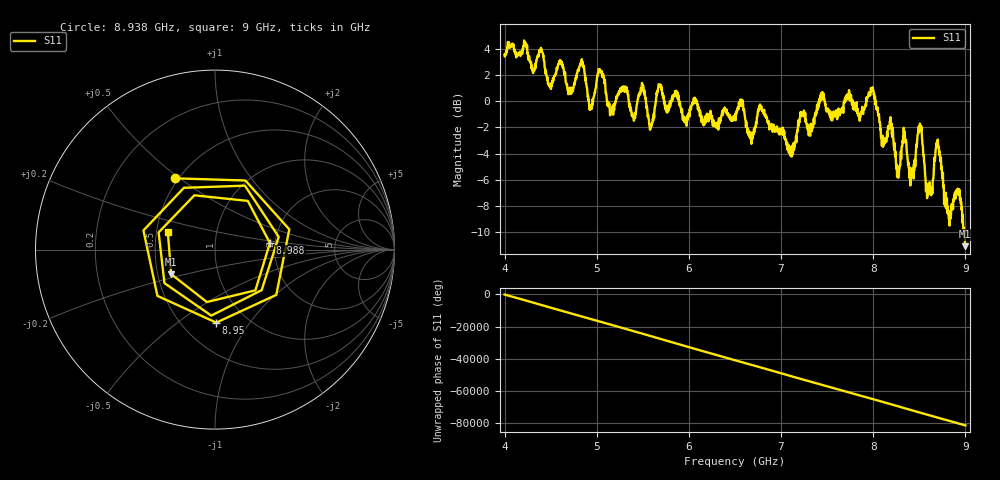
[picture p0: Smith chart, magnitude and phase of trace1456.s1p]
! Created with skrf 1.8.0 (http://scikit-rf.org).
# Hz S RI R 50.0
!freq ReS11 ImS11
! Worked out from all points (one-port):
!   1601 points, 4 GHz to 9 GHz, reference 50 ohm
!   lowest |S11| = -11.1 dB at 8.997 GHz (marker M1), VSWR 1.78, Z = 29.4 - j8.73 ohm
!   |S11| at or under -10 dB: 8.986255 GHz to 8.990128 GHz (3.873 MHz wide, 0.0431 % of centre); 8.991409 GHz to end of sweep
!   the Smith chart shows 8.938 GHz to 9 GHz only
!   S11 on the Smith chart (normalised r, x): 8.938 GHz: 0.48, +0.48; 8.95 GHz: 0.72, -0.71; 8.988 GHz: 1.87, +0.15; 9 GHz: 0.57, +0.12
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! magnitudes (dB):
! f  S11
! 4 GHz  3.5
! 4.625 GHz  2.7
! 4.709 GHz  0.5
! 4.841 GHz  2.9
! 4.934 GHz  -0.4
! 5.031 GHz  2.3
! 5.153 GHz  -0.8
! 5.25 GHz  0.7
! 5.5 GHz  1.0
! 5.588 GHz  -1.8
! 5.678 GHz  1.1
! 5.875 GHz  0.3
! 6.5 GHz  -1.2
! 7.125 GHz  -4.0
! 7.441 GHz  0.6
! 7.75 GHz  0.0
! 7.997 GHz  0.8
! 8.109 GHz  -2.9
! 8.375 GHz  -4.5
! 8.506 GHz  -1.7
! 8.594 GHz  -7.2
! 8.7 GHz  -2.9
! 8.816 GHz  -8.6
! 8.938 GHz  -6.8
! 8.95 GHz  -7.8
! 8.988 GHz  -10.2
! 8.997 GHz  -11.1
! 9 GHz  -11.0
